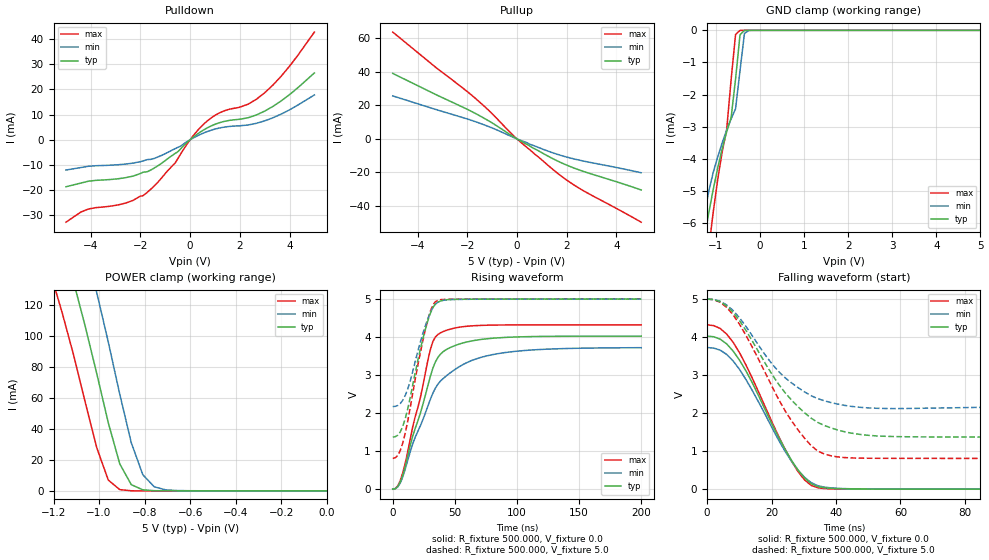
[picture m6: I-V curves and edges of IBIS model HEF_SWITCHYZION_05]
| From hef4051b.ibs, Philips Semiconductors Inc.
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|   Model HEF_SWITCHYZION_05
[Model]   HEF_SWITCHYZION_05
Model_type   I/O
Polarity   Non-Inverting
Enable   Active-High
Vinl  =  3.5V
Vinh  =  1.5V
Vmeas =  2.5V
Cref  =  50.0pF
Rref  =  10k
Vref  =  0.0V
C_comp   20.1E-12   18.1E-12   21.9E-12
|Ambient temperature:   25   85   -40
[Temperature Range]   35   95   -30
[Voltage Range]   5V   5V   5V
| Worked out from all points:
|   slope of the pulldown table from 0 to 0.75 V, typ, clamps not added: 150 ohm
|   slope of the pullup table from 0 to 0.75 V, typ, clamps not added: 120 ohm
|   GND clamp passes 1 mA (typ) near -0.52 V on its own axis
|   POWER clamp passes 1 mA (typ) near -0.81 V on its own axis
|   rising waveform, R_fixture 500.000, V_fixture 0.0: 20-80 % time 21.2ns typ, 31.1ns min, 17.5ns max; typ from 0 V to 4.03 V
|   rising waveform, R_fixture 500.000, V_fixture 5.0: 20-80 % time 14.9ns typ, 14.7ns min, 14.9ns max; typ from 1.37 V to 5 V
|   falling waveform, R_fixture 500.000, V_fixture 0.0: 20-80 % time 14.6ns typ, 14.8ns min, 14.5ns max; typ from 4.03 V to 0 V
|   falling waveform, R_fixture 500.000, V_fixture 5.0: 20-80 % time 17.8ns typ, 16.4ns min, 16.2ns max; typ from 5 V to 1.37 V
|Process Range   nominal   slow   fast
[Pulldown]
| voltage   I(typ)   I(min)   I(max)
-5V       -18.66mA   -12.03mA   -32.72mA
-4.1V     -16.46mA   -10.55mA   -27.49mA
-2.6V     -15.06mA   -9.661mA   -25.15mA
-1.85V    -12.81mA   -8.258mA   -21.84mA
-650mV    -5.739mA   -3.761mA   -9.727mA
0V        0A         0A         0A
550mV     3.927mA    2.708mA    6.23mA
1.15V     6.647mA    4.582mA    10.49mA
2.333V    8.722mA    5.846mA    14.1mA
3V        11.36mA    7.483mA    18.63mA
4V        17.9mA     11.87mA    29.18mA
5V        26.49mA    17.76mA    42.7mA
[Pullup]
| voltage   I(typ)   I(min)   I(max)
-5V       39.12mA    25.67mA    63.81mA
-3.2V     26mA       17.26mA    41.88mA
-1.733V   15.66mA    10.59mA    24.96mA
-1.067V   10.13mA    6.926mA    16.03mA
0V        -11.65fA   -101.9fA   -9.997fA
1.733V    -13.92mA   -9.714mA   -21.67mA
2.667V    -19.4mA    -13.23mA   -30.93mA
5V        -30.52mA   -20.25mA   -49.77mA
[GND_clamp]
| voltage   I(typ)   I(min)   I(max)
-5V       -2.901A    -2.981A    -2.83A
-1.364V   -7.417mA   -6.324mA   -9.428mA
-1.263V   -6.474mA   -5.738mA   -8.047mA
-1.162V   -5.676mA   -5.004mA   -6.786mA
-1.061V   -4.949mA   -4.419mA   -5.648mA
-757.6mV  -3.165mA   -3.107mA   -3.096mA
-656.6mV  -2.725mA   -2.758mA   -1.542mA
-555.6mV  -1.515mA   -2.443mA   -129.8uA
-454.5mV  -138.6uA   -1.256mA   -2.361uA
-353.5mV  -4.115uA   -95.89uA   -11.13nA
-252.5mV  -40.55nA   -2.817uA   -24.82pA
5V        304.5fA    21.31pA    240fA
[POWER_clamp]
| voltage   I(typ)   I(min)   I(max)
-5V       2.12A      2.2A       2.106A
-1.212V   181.9mA    223.5mA    140mA
-1.162V   159.5mA    203.8mA    115mA
-1.111V   134.4mA    181.6mA    87.22mA
-1.061V   106.3mA    156.4mA    57.28mA
-1.01V    75.59mA    127.9mA    27.79mA
-959.6mV  44.01mA    96.12mA    7.009mA
-909.1mV  17.43mA    62.37mA    841.6uA
-858.6mV  4.037mA    31.09mA    89.24uA
-808.1mV  721.7uA    10.49mA    15.33uA
-757.6mV  158.2uA    2.638mA    5.893uA
0V        278.1fA    18.74pA    220fA
[Ramp]
| variable   typ   min   max
dV/dt_r   2.415/21.200E-09   2.233/31.089E-09   2.593/17.496E-09
dV/dt_f   2.415/14.602E-09   2.235/14.772E-09   2.593/14.526E-09
R_load = 500.000
[Rising Waveform]
R_fixture   = 500.000
V_fixture   = 0.0
V_fixture_min = 0.0
V_fixture_max = 0.0
| time   V(typ)   V(min)   V(max)
0s        10.52pV    210.9pV    5.301pV
4.04ns    71.58mV    60.45mV    88.04mV
8.081ns   369mV      322.6mV    431mV
16.16ns   1.406V     1.199V     1.656V
22.22ns   1.997V     1.667V     2.409V
30.3ns    2.971V     2.366V     3.676V
38.38ns   3.55V      2.843V     4.112V
60.61ns   3.878V     3.343V     4.287V
86.87ns   3.984V     3.576V     4.318V
200ns     4.025V     3.721V     4.322V
[Rising Waveform]
R_fixture   = 500.000
V_fixture   = 5.0
V_fixture_min = 5.0
V_fixture_max = 5.0
| time   V(typ)   V(min)   V(max)
0s        1.371V     2.173V     809mV
4.04ns    1.419V     2.201V     886.2mV
8.081ns   1.654V     2.34V      1.216V
14.14ns   2.423V     2.855V     2.16V
20.2ns    3.392V     3.631V     3.263V
26.26ns   4.206V     4.301V     4.196V
30.3ns    4.627V     4.648V     4.685V
34.34ns   4.874V     4.865V     4.929V
52.53ns   4.993V     4.991V     4.997V
200ns     5V         5V         5V
[Falling Waveform]
R_fixture   = 500.000
V_fixture   = 0.0
V_fixture_min = 0.0
V_fixture_max = 0.0
| time   V(typ)   V(min)   V(max)
0s        4.025V     3.725V     4.322V
4.04ns    3.947V     3.657V     4.227V
8.081ns   3.631V     3.371V     3.861V
12.12ns   3.1V       2.873V     3.254V
22.22ns   1.358V     1.287V     1.385V
26.26ns   749.2mV    723mV      727.8mV
30.3ns    288.4mV    306mV      238.3mV
34.34ns   66.72mV    90.75mV    36.35mV
48.49ns   4.537mV    6.848mV    2.253mV
200ns     896.5nV    7.277uV    14.58nV
[Falling Waveform]
R_fixture   = 500.000
V_fixture   = 5.0
V_fixture_min = 5.0
V_fixture_max = 5.0
| time   V(typ)   V(min)   V(max)
0s        5V         5V         5V
4.04ns    4.931V     4.942V     4.915V
8.081ns   4.648V     4.697V     4.584V
12.12ns   4.165V     4.271V     4.034V
20.2ns    3.01V      3.287V     2.691V
26.26ns   2.338V     2.791V     1.79V
32.32ns   1.866V     2.457V     1.143V
38.38ns   1.613V     2.279V     879.4mV
58.59ns   1.383V     2.12V      810.5mV
200ns     1.371V     2.173V     809mV
